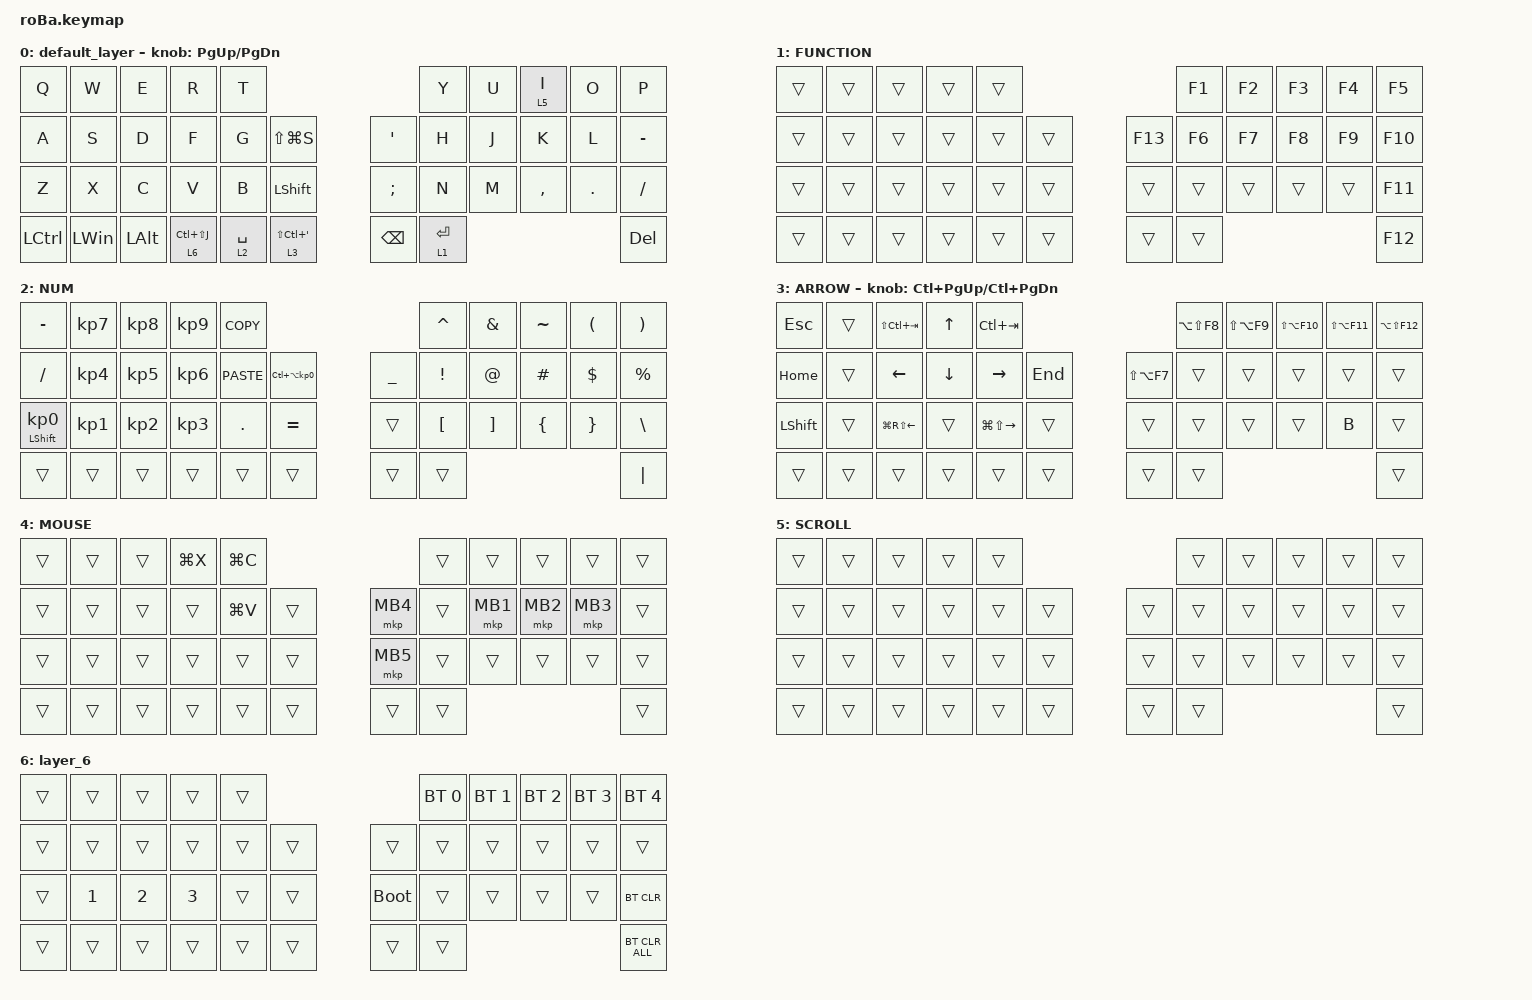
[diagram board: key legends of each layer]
#include <behaviors.dtsi>
#include <dt-bindings/zmk/bt.h>
#include <dt-bindings/zmk/keys.h>
#include <dt-bindings/zmk/pointing.h>

#define MOUSE 4
#define SCROLL 5
#define NUM 6

&mt {
    flavor = "balanced";
    quick-tap-ms = <0>;
};

/ {
    combos {
        compatible = "zmk,combos";

        tab {
            bindings = <&kp TAB>;
            key-positions = <11 12>;
        };

        shift_tab {
            bindings = <&kp LS(TAB)>;
            key-positions = <12 13>;
        };

        muhennkann {
            bindings = <&to_layer_0 INT_MUHENKAN>;
            key-positions = <11 10>;
        };

        double_quotation {
            bindings = <&kp DOUBLE_QUOTES>;
            key-positions = <20 21>;
        };

        eq {
            bindings = <&kp EQUAL>;
            key-positions = <24 25>;
        };

        kana {
            bindings = <&kp LANG_HIRAGANA>;
            key-positions = <1 0>;
        };

        ei {
            bindings = <&kp LANGUAGE_5>;
            key-positions = <2 3>;
        };
    };

    macros {
        to_layer_0: to_layer_0 {
            compatible = "zmk,behavior-macro-one-param";
            #binding-cells = <1>;
            bindings = <&to 0 &macro_param_1to1 &kp MACRO_PLACEHOLDER>;
            label = "TO_LAYER_0";
        };
    };

    behaviors {
        lt_to_layer_0: lt_to_layer_0 {
            compatible = "zmk,behavior-hold-tap";
            label = "LAYER_TAP_TO_0";
            bindings = <&mo>, <&to_layer_0>;

            #binding-cells = <2>;
            tapping-term-ms = <200>;
        };
    };

    keymap {
        compatible = "zmk,keymap";

        default_layer {
            bindings = <
&kp Q      &kp W         &kp E         &kp R                       &kp T                                                         &kp Y        &kp U  &lt 5 I    &kp O    &kp P
&kp A      &kp S         &kp D         &kp F                       &kp G        &kp LS(LG(S))                     &kp SQT        &kp H        &kp J  &kp K      &kp L    &kp MINUS
&kp Z      &kp X         &kp C         &kp V                       &kp B        &kp LEFT_SHIFT                    &kp SEMICOLON  &kp N        &kp M  &kp COMMA  &kp DOT  &kp SLASH
&kp LCTRL  &kp LEFT_WIN  &kp LEFT_ALT  &lt_to_layer_0 6 LC(LS(J))  &lt 2 SPACE  &lt_to_layer_0 3 LS(LC(SQT))      &kp BACKSPACE  &lt 1 ENTER                             &kp DEL
            >;

            sensor-bindings = <&inc_dec_kp PG_UP PAGE_DOWN>;
        };

        FUNCTION {
            bindings = <
&trans  &trans  &trans  &trans  &trans                       &kp F1  &kp F2  &kp F3  &kp F4  &kp F5
&trans  &trans  &trans  &trans  &trans  &trans      &kp F13  &kp F6  &kp F7  &kp F8  &kp F9  &kp F10
&trans  &trans  &trans  &trans  &trans  &trans      &trans   &trans  &trans  &trans  &trans  &kp F11
&trans  &trans  &trans  &trans  &trans  &trans      &trans   &trans                          &kp F12
            >;
        };

        NUM {
            bindings = <
&kp MINUS                   &kp KP_NUMBER_7  &kp KP_NUMBER_8  &kp KP_NUMBER_9  &kp K_COPY                                                &kp CARET         &kp AMPERSAND      &kp TILDE       &kp LEFT_PARENTHESIS  &kp RIGHT_PARENTHESIS
&kp SLASH                   &kp KP_NUMBER_4  &kp KP_NUMBER_5  &kp KP_NUMBER_6  &kp K_PASTE  &kp LC(LA(KP_NUMBER_0))      &kp UNDERSCORE  &kp EXCLAMATION   &kp AT_SIGN        &kp HASH        &kp DOLLAR            &kp PERCENT
&mt LEFT_SHIFT KP_NUMBER_0  &kp KP_NUMBER_1  &kp KP_NUMBER_2  &kp KP_NUMBER_3  &kp PERIOD   &kp EQUAL                    &trans          &kp LEFT_BRACKET  &kp RIGHT_BRACKET  &kp LEFT_BRACE  &kp RIGHT_BRACE       &kp BACKSLASH
&trans                      &trans           &trans           &trans           &trans       &trans                       &trans          &trans                                                                     &kp PIPE
            >;
        };

        ARROW {
            bindings = <
&kp ESCAPE      &trans  &kp LS(LC(TAB))         &kp UP_ARROW    &kp LC(TAB)                                           &kp LA(LS(F8))  &kp LS(LA(F9))  &kp LS(LA(F10))  &kp LS(LA(F11))  &kp LA(LS(F12))
&kp HOME        &trans  &kp LEFT_ARROW          &kp DOWN_ARROW  &kp RIGHT_ARROW          &kp END      &kp LS(LA(F7))  &trans          &trans          &trans           &trans           &trans
&kp LEFT_SHIFT  &trans  &kp LG(RS(LEFT_ARROW))  &trans          &kp LG(LS(RIGHT_ARROW))  &trans       &trans          &trans          &trans          &trans           &kp B            &trans
&trans          &trans  &trans                  &trans          &trans                   &trans       &trans          &trans                                                            &trans
            >;

            sensor-bindings = <&inc_dec_kp LC(PAGE_UP) LC(PAGE_DOWN)>;
        };

        MOUSE {
            bindings = <
&trans  &trans  &trans  &kp LG(X)  &kp LG(C)                        &trans  &trans    &trans    &trans    &trans
&trans  &trans  &trans  &trans     &kp LG(V)  &trans      &mkp MB4  &trans  &mkp MB1  &mkp MB2  &mkp MB3  &trans
&trans  &trans  &trans  &trans     &trans     &trans      &mkp MB5  &trans  &trans    &trans    &trans    &trans
&trans  &trans  &trans  &trans     &trans     &trans      &trans    &trans                                &trans
            >;
        };

        SCROLL {
            bindings = <
&trans  &trans  &trans  &trans  &trans                      &trans  &trans  &trans  &trans  &trans
&trans  &trans  &trans  &trans  &trans  &trans      &trans  &trans  &trans  &trans  &trans  &trans
&trans  &trans  &trans  &trans  &trans  &trans      &trans  &trans  &trans  &trans  &trans  &trans
&trans  &trans  &trans  &trans  &trans  &trans      &trans  &trans                          &trans
            >;
        };

        layer_6 {
            bindings = <
&trans  &trans        &trans        &trans        &trans                           &bt BT_SEL 0  &bt BT_SEL 1  &bt BT_SEL 2  &bt BT_SEL 3  &bt BT_SEL 4
&trans  &trans        &trans        &trans        &trans  &trans      &trans       &trans        &trans        &trans        &trans        &trans
&trans  &kp NUMBER_1  &kp NUMBER_2  &kp NUMBER_3  &trans  &trans      &bootloader  &trans        &trans        &trans        &trans        &bt BT_CLR
&trans  &trans        &trans        &trans        &trans  &trans      &trans       &trans                                                  &bt BT_CLR_ALL
            >;
        };
    };
};

/ {
    macros {
    };
